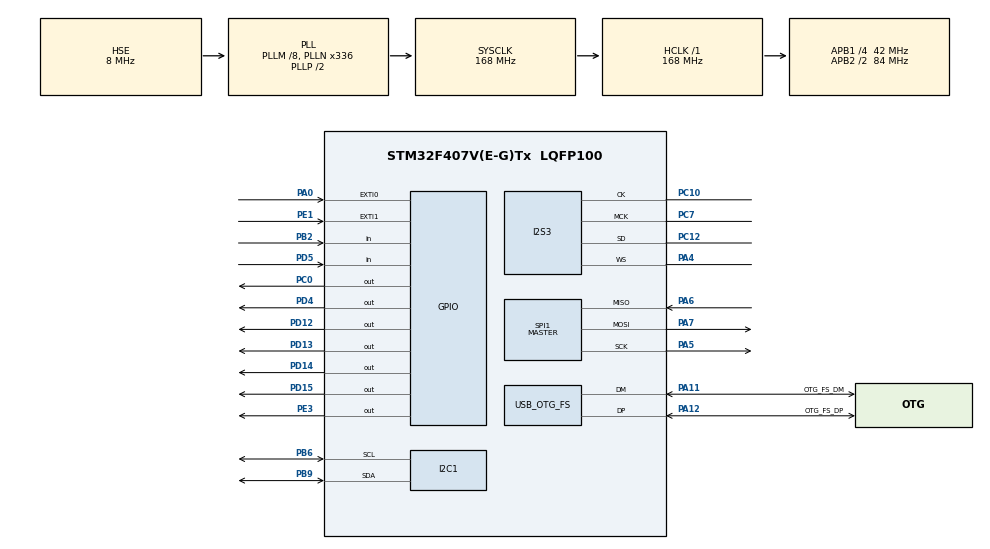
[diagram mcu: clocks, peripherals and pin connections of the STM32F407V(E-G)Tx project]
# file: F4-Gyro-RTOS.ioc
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FREERTOS.Tasks01=Task01,0,256,StartTask01,Default,NULL,Dynamic,NULL,NULL;Task02,0,128,StartTask02,Default,NULL,Dynamic,NULL,NULL
I2S3.AudioFreq-Half_Duplex_Master=I2S_AUDIOFREQ_96K
I2S3.ErrorAudioFreq=-2.34 %
I2S3.ErrorAudioFreq-Half_Duplex_Master=0.8 %
I2S3.FullDuplexMode=I2S_FULLDUPLEXMODE_DISABLE
I2S3.Instance=SPI$Index
I2S3.RealAudioFreq=93.75 KHz
I2S3.RealAudioFreq-Half_Duplex_Master=96.774 KHz
I2S3.VirtualMode=I2S_MODE_MASTER
Mcu.Family=STM32F4
Mcu.Name=STM32F407V(E-G)Tx
Mcu.Package=LQFP100
NVIC.OTG_FS_IRQn=true\:5\:0\:false\:false\:true\:true\:true
NVIC.PriorityGroup=NVIC_PRIORITYGROUP_4
NVIC.TIM6_DAC_IRQn=true\:0\:0\:false\:false\:true\:false\:false
NVIC.TimeBase=TIM6_DAC_IRQn
NVIC.TimeBaseIP=TIM6
PA0-WKUP.GPIO_ModeDefaultEXTI=GPIO_MODE_IT_RISING
PA0-WKUP.GPIO_PuPd=GPIO_NOPULL
PA0-WKUP.Signal=GPXTI0
PA10.GPIO_Mode=GPIO_MODE_AF_PP
PA10.GPIO_PuPd=GPIO_NOPULL
PA10.GPIO_Speed=GPIO_SPEED_FREQ_VERY_HIGH
PA10.Signal=USB_OTG_FS_ID
PA11.GPIO_Label=OTG_FS_DM
PA11.GPIO_Mode=GPIO_MODE_AF_PP
PA11.GPIO_PuPd=GPIO_NOPULL
PA11.GPIO_Speed=GPIO_SPEED_FREQ_LOW
PA11.Mode=Device_Only
PA11.Signal=USB_OTG_FS_DM
PA12.GPIO_Label=OTG_FS_DP
PA12.GPIO_Mode=GPIO_MODE_AF_PP
PA12.GPIO_PuPd=GPIO_NOPULL
PA12.GPIO_Speed=GPIO_SPEED_FREQ_LOW
PA12.Mode=Device_Only
PA12.Signal=USB_OTG_FS_DP
PA13.Mode=Serial_Wire
PA13.Signal=SYS_JTMS-SWDIO
PA14.Mode=Serial_Wire
PA14.Signal=SYS_JTCK-SWCLK
PA4.GPIO_Mode=GPIO_MODE_AF_PP
PA4.GPIO_PuPd=GPIO_NOPULL
PA4.GPIO_Speed=GPIO_SPEED_FREQ_LOW
PA4.Mode=Half_Duplex_Master
PA4.Signal=I2S3_WS
PA5.GPIO_Mode=GPIO_MODE_AF_PP
PA5.GPIO_PuPd=GPIO_NOPULL
PA5.GPIO_Speed=GPIO_SPEED_FREQ_VERY_HIGH
PA5.Mode=Full_Duplex_Master
PA5.Signal=SPI1_SCK
PA6.GPIO_Mode=GPIO_MODE_AF_PP
PA6.GPIO_PuPd=GPIO_NOPULL
PA6.GPIO_Speed=GPIO_SPEED_FREQ_VERY_HIGH
PA6.Mode=Full_Duplex_Master
PA6.Signal=SPI1_MISO
PA7.GPIO_Mode=GPIO_MODE_AF_PP
PA7.GPIO_PuPd=GPIO_NOPULL
PA7.GPIO_Speed=GPIO_SPEED_FREQ_VERY_HIGH
PA7.Mode=Full_Duplex_Master
PA7.Signal=SPI1_MOSI
PA9.GPIO_Mode=GPIO_MODE_INPUT
PA9.GPIO_PuPd=GPIO_NOPULL
PA9.Signal=USB_OTG_FS_VBUS
PB10.GPIO_Mode=GPIO_MODE_AF_PP
PB10.GPIO_PuPd=GPIO_NOPULL
PB10.GPIO_Speed=GPIO_SPEED_FREQ_LOW
PB10.Signal=I2S2_CK
PB2.GPIO_Mode=GPIO_MODE_INPUT
PB2.GPIO_PuPd=GPIO_NOPULL
PB2.Signal=GPIO_Input
PB3.Signal=SYS_JTDO-SWO
PB6.GPIO_Mode=GPIO_MODE_AF_OD
PB6.GPIO_PuPd=GPIO_NOPULL
PB6.GPIO_PuPdOD=GPIO_PULLUP
PB6.GPIO_Speed=GPIO_SPEED_FREQ_VERY_HIGH
PB6.Mode=I2C
PB6.Signal=I2C1_SCL
PB9.GPIO_Mode=GPIO_MODE_AF_OD
PB9.GPIO_PuPd=GPIO_NOPULL
PB9.GPIO_PuPdOD=GPIO_PULLUP
PB9.GPIO_Speed=GPIO_SPEED_FREQ_VERY_HIGH
PB9.Mode=I2C
PB9.Signal=I2C1_SDA
PC0.GPIO_ModeDefaultOutputPP=GPIO_MODE_OUTPUT_PP
PC0.GPIO_PuPd=GPIO_NOPULL
PC0.GPIO_Speed=GPIO_SPEED_FREQ_LOW
PC0.PinState=GPIO_PIN_RESET
PC0.Signal=GPIO_Output
PC10.GPIO_Mode=GPIO_MODE_AF_PP
PC10.GPIO_PuPd=GPIO_NOPULL
PC10.GPIO_Speed=GPIO_SPEED_FREQ_LOW
PC10.Mode=Half_Duplex_Master
PC10.Signal=I2S3_CK
PC12.GPIO_Mode=GPIO_MODE_AF_PP
PC12.GPIO_PuPd=GPIO_NOPULL
PC12.GPIO_Speed=GPIO_SPEED_FREQ_LOW
PC12.Mode=Half_Duplex_Master
PC12.Signal=I2S3_SD
PC14-OSC32_IN.Mode=LSE-External-Oscillator
PC14-OSC32_IN.Signal=RCC_OSC32_IN
PC15-OSC32_OUT.Mode=LSE-External-Oscillator
PC15-OSC32_OUT.Signal=RCC_OSC32_OUT
PC3.GPIO_Mode=GPIO_MODE_AF_PP
PC3.GPIO_PuPd=GPIO_NOPULL
PC3.GPIO_Speed=GPIO_SPEED_FREQ_LOW
PC3.Signal=I2S2_SD
PC7.GPIO_Mode=GPIO_MODE_AF_PP
PC7.GPIO_PuPd=GPIO_NOPULL
PC7.GPIO_Speed=GPIO_SPEED_FREQ_LOW
PC7.Mode=Master_Clock_Activated
PC7.Signal=I2S3_MCK
PD12.GPIO_ModeDefaultOutputPP=GPIO_MODE_OUTPUT_PP
PD12.GPIO_PuPd=GPIO_NOPULL
PD12.GPIO_Speed=GPIO_SPEED_FREQ_LOW
PD12.PinState=GPIO_PIN_RESET
PD12.Signal=GPIO_Output
PD13.GPIO_ModeDefaultOutputPP=GPIO_MODE_OUTPUT_PP
PD13.GPIO_PuPd=GPIO_NOPULL
PD13.GPIO_Speed=GPIO_SPEED_FREQ_LOW
PD13.PinState=GPIO_PIN_RESET
PD13.Signal=GPIO_Output
PD14.GPIO_ModeDefaultOutputPP=GPIO_MODE_OUTPUT_PP
PD14.GPIO_PuPd=GPIO_NOPULL
PD14.GPIO_Speed=GPIO_SPEED_FREQ_LOW
PD14.PinState=GPIO_PIN_RESET
PD14.Signal=GPIO_Output
PD15.GPIO_ModeDefaultOutputPP=GPIO_MODE_OUTPUT_PP
PD15.GPIO_PuPd=GPIO_NOPULL
PD15.GPIO_Speed=GPIO_SPEED_FREQ_LOW
PD15.PinState=GPIO_PIN_RESET
PD15.Signal=GPIO_Output
PD4.GPIO_ModeDefaultOutputPP=GPIO_MODE_OUTPUT_PP
PD4.GPIO_PuPd=GPIO_NOPULL
PD4.GPIO_Speed=GPIO_SPEED_FREQ_LOW
PD4.PinState=GPIO_PIN_RESET
PD4.Signal=GPIO_Output
PD5.GPIO_Mode=GPIO_MODE_INPUT
PD5.GPIO_PuPd=GPIO_NOPULL
PD5.Signal=GPIO_Input
PE1.GPIO_ModeDefaultEXTI=GPIO_MODE_IT_RISING
PE1.GPIO_PuPd=GPIO_NOPULL
PE1.Signal=GPXTI1
PE3.GPIO_ModeDefaultOutputPP=GPIO_MODE_OUTPUT_PP
PE3.GPIO_PuPd=GPIO_NOPULL
PE3.GPIO_Speed=GPIO_SPEED_FREQ_LOW
PE3.PinState=GPIO_PIN_RESET
PE3.Signal=GPIO_Output
PH0-OSC_IN.Mode=HSE-External-Oscillator
PH0-OSC_IN.Signal=RCC_OSC_IN
PH1-OSC_OUT.Mode=HSE-External-Oscillator
PH1-OSC_OUT.Signal=RCC_OSC_OUT
ProjectManager.HeapSize=0x200
ProjectManager.StackSize=0x400
ProjectManager.TargetToolchain=TrueSTUDIO
RCC.48MHZClocksFreq_Value=48000000
RCC.AHBFreq_Value=168000000
RCC.APB1CLKDivider=RCC_HCLK_DIV4
RCC.APB1Freq_Value=42000000
RCC.APB1TimFreq_Value=84000000
RCC.APB2CLKDivider=RCC_HCLK_DIV2
RCC.APB2Freq_Value=84000000
RCC.APB2TimFreq_Value=168000000
RCC.CortexFreq_Value=168000000
RCC.HCLKFreq_Value=168000000
RCC.HSE_VALUE=8000000
RCC.HSI_VALUE=16000000
RCC.PLLM=8
RCC.PLLN=336
RCC.PLLQ=7
RCC.SYSCLKFreq_VALUE=168000000
RCC.SYSCLKSource=RCC_SYSCLKSOURCE_PLLCLK
RCC.VCOOutputFreq_Value=336000000
SPI1.BaudRatePrescaler-Full_Duplex_Master=SPI_BAUDRATEPRESCALER_2
SPI1.CalculateBaudRate-Full_Duplex_Master=42.0 MBits/s
SPI1.Direction=SPI_DIRECTION_2LINES
SPI1.Mode=SPI_MODE_MASTER
SPI1.Mode-Full_Duplex_Master=SPI_MODE_MASTER
SPI1.VirtualType=VM_MASTER
USB_DEVICE.CLASS_NAME_FS=CDC
USB_DEVICE.VirtualMode-CDC_FS=Cdc
USB_DEVICE.VirtualModeFS=Cdc_FS
USB_OTG_FS.VirtualMode=Device_Only
VP_FREERTOS_VS_ENABLE.Mode=Enabled
VP_SYS_VS_tim6.Mode=TIM6
VP_USB_DEVICE_VS_USB_DEVICE_CDC_FS.Mode=CDC_FS
board=STM32F4DISCOVERY

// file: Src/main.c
/**
  ******************************************************************************
  * @file           : main.c
  * @brief          : Main program body
  ******************************************************************************
  * This notice applies to any and all portions of this file
  * that are not between comment pairs USER CODE BEGIN and
  * USER CODE END. Other portions of this file, whether
  * inserted by the user or by software development tools
  * are owned by their respective copyright owners.
  *
  * Copyright (c) 2018 STMicroelectronics International N.V.
  * All rights reserved.
  *
  * Redistribution and use in source and binary forms, with or without
  * modification, are permitted, provided that the following conditions are met:
  *
  * 1. Redistribution of source code must retain the above copyright notice,
  *    this list of conditions and the following disclaimer.
  * 2. Redistributions in binary form must reproduce the above copyright notice,
  *    this list of conditions and the following disclaimer in the documentation
  *    and/or other materials provided with the distribution.
  * 3. Neither the name of STMicroelectronics nor the names of other
  *    contributors to this software may be used to endorse or promote products
  *    derived from this software without specific written permission.
  * 4. This software, including modifications and/or derivative works of this
  *    software, must execute solely and exclusively on microcontroller or
  *    microprocessor devices manufactured by or for STMicroelectronics.
  * 5. Redistribution and use of this software other than as permitted under
  *    this license is void and will automatically terminate your rights under
  *    this license.
  *
  * THIS SOFTWARE IS PROVIDED BY STMICROELECTRONICS AND CONTRIBUTORS "AS IS"
  * AND ANY EXPRESS, IMPLIED OR STATUTORY WARRANTIES, INCLUDING, BUT NOT
  * LIMITED TO, THE IMPLIED WARRANTIES OF MERCHANTABILITY, FITNESS FOR A
  * PARTICULAR PURPOSE AND NON-INFRINGEMENT OF THIRD PARTY INTELLECTUAL PROPERTY
  * RIGHTS ARE DISCLAIMED TO THE FULLEST EXTENT PERMITTED BY LAW. IN NO EVENT
  * SHALL STMICROELECTRONICS OR CONTRIBUTORS BE LIABLE FOR ANY DIRECT, INDIRECT,
  * INCIDENTAL, SPECIAL, EXEMPLARY, OR CONSEQUENTIAL DAMAGES (INCLUDING, BUT NOT
  * LIMITED TO, PROCUREMENT OF SUBSTITUTE GOODS OR SERVICES; LOSS OF USE, DATA,
  * OR PROFITS; OR BUSINESS INTERRUPTION) HOWEVER CAUSED AND ON ANY THEORY OF
  * LIABILITY, WHETHER IN CONTRACT, STRICT LIABILITY, OR TORT (INCLUDING
  * NEGLIGENCE OR OTHERWISE) ARISING IN ANY WAY OUT OF THE USE OF THIS SOFTWARE,
  * EVEN IF ADVISED OF THE POSSIBILITY OF SUCH DAMAGE.
  *
  ******************************************************************************
  */
#include "main.h"
#include "stm32f4xx_hal.h"
#include "cmsis_os.h"
#include "usb_device.h"

/* USER CODE BEGIN Includes */
#include "stm32f4_discovery_accelerometer.h"
#include "stm32f4_discovery.h"
#include "usbd_cdc.h"
/* USER CODE END Includes */

I2C_HandleTypeDef hi2c1;

I2S_HandleTypeDef hi2s3;

SPI_HandleTypeDef hspi1;

osThreadId Task01Handle;
osThreadId Task02Handle;

/* USER CODE BEGIN PV */
/* Private variables ---------------------------------------------------------*/
osMailQId(myMailQID); //Define mail queue
typedef struct
{
  int16_t x_ang_rate;
  int16_t y_ang_rate;
  int16_t z_ang_rate;

} GYRO_DATA_T;
int16_t ThresholdHigh = 200;
int16_t ThresholdLow = -200;
/* USER CODE END PV */

void SystemClock_Config(void);
static void MX_GPIO_Init(void);
static void MX_I2C1_Init(void);
static void MX_I2S3_Init(void);
static void MX_SPI1_Init(void);
void StartTask01(void const * argument);
void StartTask02(void const * argument);

/* USER CODE BEGIN PFP */
/* Private function prototypes -----------------------------------------------*/

/* USER CODE END PFP */

/* USER CODE BEGIN 0 */
#define ABS(x) (x < 0) ? (-x) : x
/* USER CODE END 0 */

int main(void)
{

  /* MCU Configuration----------------------------------------------------------*/

  /* Reset of all peripherals, Initializes the Flash interface and the Systick. */
  HAL_Init();

  /* Configure the system clock */
  SystemClock_Config();

  /* Initialize all configured peripherals */
  MX_GPIO_Init();
  MX_I2C1_Init();
  MX_I2S3_Init();
  MX_SPI1_Init();

  /* Create the thread(s) */
  /* definition and creation of Task01 */
  osThreadDef(Task01, StartTask01, osPriorityNormal, 0, 256);
  Task01Handle = osThreadCreate(osThread(Task01), NULL);

  /* definition and creation of Task02 */
  osThreadDef(Task02, StartTask02, osPriorityNormal, 0, 128);
  Task02Handle = osThreadCreate(osThread(Task02), NULL);

  /* USER CODE BEGIN RTOS_QUEUES */
  /* add queues, ... */
  osMailQDef(myMailQ, 5, GYRO_DATA_T);
  myMailQID = osMailCreate(osMailQ(myMailQ), NULL);
  /* USER CODE END RTOS_QUEUES */

  /* Start scheduler */
  osKernelStart();

  /* We should never get here as control is now taken by the scheduler */

  /* Infinite loop */
  while (1)
  {

  }

}

void SystemClock_Config(void)
{

  RCC_OscInitTypeDef RCC_OscInitStruct;
  RCC_ClkInitTypeDef RCC_ClkInitStruct;
  RCC_PeriphCLKInitTypeDef PeriphClkInitStruct;

    /**Configure the main internal regulator output voltage
    */
  __HAL_RCC_PWR_CLK_ENABLE();

  __HAL_PWR_VOLTAGESCALING_CONFIG(PWR_REGULATOR_VOLTAGE_SCALE1);

    /**Initializes the CPU, AHB and APB busses clocks
    */
  RCC_OscInitStruct.OscillatorType = RCC_OSCILLATORTYPE_HSE;
  RCC_OscInitStruct.HSEState = RCC_HSE_ON;
  RCC_OscInitStruct.PLL.PLLState = RCC_PLL_ON;
  RCC_OscInitStruct.PLL.PLLSource = RCC_PLLSOURCE_HSE;
  RCC_OscInitStruct.PLL.PLLM = 8;
  RCC_OscInitStruct.PLL.PLLN = 336;
  RCC_OscInitStruct.PLL.PLLP = RCC_PLLP_DIV2;
  RCC_OscInitStruct.PLL.PLLQ = 7;
  if (HAL_RCC_OscConfig(&RCC_OscInitStruct) != HAL_OK)
  {
    _Error_Handler(__FILE__, __LINE__);
  }

    /**Initializes the CPU, AHB and APB busses clocks
    */
  RCC_ClkInitStruct.ClockType = RCC_CLOCKTYPE_HCLK|RCC_CLOCKTYPE_SYSCLK
                              |RCC_CLOCKTYPE_PCLK1|RCC_CLOCKTYPE_PCLK2;
  RCC_ClkInitStruct.SYSCLKSource = RCC_SYSCLKSOURCE_PLLCLK;
  RCC_ClkInitStruct.AHBCLKDivider = RCC_SYSCLK_DIV1;
  RCC_ClkInitStruct.APB1CLKDivider = RCC_HCLK_DIV4;
  RCC_ClkInitStruct.APB2CLKDivider = RCC_HCLK_DIV2;

  if (HAL_RCC_ClockConfig(&RCC_ClkInitStruct, FLASH_LATENCY_5) != HAL_OK)
  {
    _Error_Handler(__FILE__, __LINE__);
  }

  PeriphClkInitStruct.PeriphClockSelection = RCC_PERIPHCLK_I2S;
  PeriphClkInitStruct.PLLI2S.PLLI2SN = 192;
  PeriphClkInitStruct.PLLI2S.PLLI2SR = 2;
  if (HAL_RCCEx_PeriphCLKConfig(&PeriphClkInitStruct) != HAL_OK)
  {
    _Error_Handler(__FILE__, __LINE__);
  }

    /**Configure the Systick interrupt time
    */
  HAL_SYSTICK_Config(HAL_RCC_GetHCLKFreq()/1000);

    /**Configure the Systick
    */
  HAL_SYSTICK_CLKSourceConfig(SYSTICK_CLKSOURCE_HCLK);

  /* SysTick_IRQn interrupt configuration */
  HAL_NVIC_SetPriority(SysTick_IRQn, 15, 0);
}

/* I2C1 init function */
static void MX_I2C1_Init(void)
{

  hi2c1.Instance = I2C1;
  hi2c1.Init.ClockSpeed = 100000;
  hi2c1.Init.DutyCycle = I2C_DUTYCYCLE_2;
  hi2c1.Init.OwnAddress1 = 0;
  hi2c1.Init.AddressingMode = I2C_ADDRESSINGMODE_7BIT;
  hi2c1.Init.DualAddressMode = I2C_DUALADDRESS_DISABLE;
  hi2c1.Init.OwnAddress2 = 0;
  hi2c1.Init.GeneralCallMode = I2C_GENERALCALL_DISABLE;
  hi2c1.Init.NoStretchMode = I2C_NOSTRETCH_DISABLE;
  if (HAL_I2C_Init(&hi2c1) != HAL_OK)
  {
    _Error_Handler(__FILE__, __LINE__);
  }

}

/* I2S3 init function */
static void MX_I2S3_Init(void)
{

  hi2s3.Instance = SPI3;
  hi2s3.Init.Mode = I2S_MODE_MASTER_TX;
  hi2s3.Init.Standard = I2S_STANDARD_PHILIPS;
  hi2s3.Init.DataFormat = I2S_DATAFORMAT_16B;
  hi2s3.Init.MCLKOutput = I2S_MCLKOUTPUT_ENABLE;
  hi2s3.Init.AudioFreq = I2S_AUDIOFREQ_96K;
  hi2s3.Init.CPOL = I2S_CPOL_LOW;
  hi2s3.Init.ClockSource = I2S_CLOCK_PLL;
  hi2s3.Init.FullDuplexMode = I2S_FULLDUPLEXMODE_DISABLE;
  if (HAL_I2S_Init(&hi2s3) != HAL_OK)
  {
    _Error_Handler(__FILE__, __LINE__);
  }

}

/* SPI1 init function */
static void MX_SPI1_Init(void)
{

  /* SPI1 parameter configuration*/
  hspi1.Instance = SPI1;
  hspi1.Init.Mode = SPI_MODE_MASTER;
  hspi1.Init.Direction = SPI_DIRECTION_2LINES;
  hspi1.Init.DataSize = SPI_DATASIZE_8BIT;
  hspi1.Init.CLKPolarity = SPI_POLARITY_LOW;
  hspi1.Init.CLKPhase = SPI_PHASE_1EDGE;
  hspi1.Init.NSS = SPI_NSS_SOFT;
  hspi1.Init.BaudRatePrescaler = SPI_BAUDRATEPRESCALER_2;
  hspi1.Init.FirstBit = SPI_FIRSTBIT_MSB;
  hspi1.Init.TIMode = SPI_TIMODE_DISABLE;
  hspi1.Init.CRCCalculation = SPI_CRCCALCULATION_DISABLE;
  hspi1.Init.CRCPolynomial = 10;
  if (HAL_SPI_Init(&hspi1) != HAL_OK)
  {
    _Error_Handler(__FILE__, __LINE__);
  }

}

/** Configure pins as
        * Analog
        * Input
        * Output
        * EVENT_OUT
        * EXTI
     PC3   ------> I2S2_SD
     PB10   ------> I2S2_CK
*/
static void MX_GPIO_Init(void)
{

  GPIO_InitTypeDef GPIO_InitStruct;

  /* GPIO Ports Clock Enable */
  __HAL_RCC_GPIOE_CLK_ENABLE();
  __HAL_RCC_GPIOC_CLK_ENABLE();
  __HAL_RCC_GPIOH_CLK_ENABLE();
  __HAL_RCC_GPIOA_CLK_ENABLE();
  __HAL_RCC_GPIOB_CLK_ENABLE();
  __HAL_RCC_GPIOD_CLK_ENABLE();

  /*Configure GPIO pin Output Level */
  HAL_GPIO_WritePin(GPIOE, GPIO_PIN_3, GPIO_PIN_RESET);

  /*Configure GPIO pin Output Level */
  HAL_GPIO_WritePin(GPIOC, GPIO_PIN_0, GPIO_PIN_RESET);

  /*Configure GPIO pin Output Level */
  HAL_GPIO_WritePin(GPIOD, GPIO_PIN_12|GPIO_PIN_13|GPIO_PIN_14|GPIO_PIN_15
                          |GPIO_PIN_4, GPIO_PIN_RESET);

  /*Configure GPIO pin : PE3 */
  GPIO_InitStruct.Pin = GPIO_PIN_3;
  GPIO_InitStruct.Mode = GPIO_MODE_OUTPUT_PP;
  GPIO_InitStruct.Pull = GPIO_NOPULL;
  GPIO_InitStruct.Speed = GPIO_SPEED_FREQ_LOW;
  HAL_GPIO_Init(GPIOE, &GPIO_InitStruct);

  /*Configure GPIO pin : PC0 */
  GPIO_InitStruct.Pin = GPIO_PIN_0;
  GPIO_InitStruct.Mode = GPIO_MODE_OUTPUT_PP;
  GPIO_InitStruct.Pull = GPIO_NOPULL;
  GPIO_InitStruct.Speed = GPIO_SPEED_FREQ_LOW;
  HAL_GPIO_Init(GPIOC, &GPIO_InitStruct);

  /*Configure GPIO pin : PC3 */
  GPIO_InitStruct.Pin = GPIO_PIN_3;
  GPIO_InitStruct.Mode = GPIO_MODE_AF_PP;
  GPIO_InitStruct.Pull = GPIO_NOPULL;
  GPIO_InitStruct.Speed = GPIO_SPEED_FREQ_LOW;
  GPIO_InitStruct.Alternate = GPIO_AF5_SPI2;
  HAL_GPIO_Init(GPIOC, &GPIO_InitStruct);

  /*Configure GPIO pin : PA0 */
  GPIO_InitStruct.Pin = GPIO_PIN_0;
  GPIO_InitStruct.Mode = GPIO_MODE_IT_RISING;
  GPIO_InitStruct.Pull = GPIO_NOPULL;
  HAL_GPIO_Init(GPIOA, &GPIO_InitStruct);

  /*Configure GPIO pin : PB2 */
  GPIO_InitStruct.Pin = GPIO_PIN_2;
  GPIO_InitStruct.Mode = GPIO_MODE_INPUT;
  GPIO_InitStruct.Pull = GPIO_NOPULL;
  HAL_GPIO_Init(GPIOB, &GPIO_InitStruct);

  /*Configure GPIO pin : PB10 */
  GPIO_InitStruct.Pin = GPIO_PIN_10;
  GPIO_InitStruct.Mode = GPIO_MODE_AF_PP;
  GPIO_InitStruct.Pull = GPIO_NOPULL;
  GPIO_InitStruct.Speed = GPIO_SPEED_FREQ_LOW;
  GPIO_InitStruct.Alternate = GPIO_AF5_SPI2;
  HAL_GPIO_Init(GPIOB, &GPIO_InitStruct);

  /*Configure GPIO pins : PD12 PD13 PD14 PD15
                           PD4 */
  GPIO_InitStruct.Pin = GPIO_PIN_12|GPIO_PIN_13|GPIO_PIN_14|GPIO_PIN_15
                          |GPIO_PIN_4;
  GPIO_InitStruct.Mode = GPIO_MODE_OUTPUT_PP;
  GPIO_InitStruct.Pull = GPIO_NOPULL;
  GPIO_InitStruct.Speed = GPIO_SPEED_FREQ_LOW;
  HAL_GPIO_Init(GPIOD, &GPIO_InitStruct);

  /*Configure GPIO pin : PD5 */
  GPIO_InitStruct.Pin = GPIO_PIN_5;
  GPIO_InitStruct.Mode = GPIO_MODE_INPUT;
  GPIO_InitStruct.Pull = GPIO_NOPULL;
  HAL_GPIO_Init(GPIOD, &GPIO_InitStruct);

  /*Configure GPIO pin : PE1 */
  GPIO_InitStruct.Pin = GPIO_PIN_1;
  GPIO_InitStruct.Mode = GPIO_MODE_IT_RISING;
  GPIO_InitStruct.Pull = GPIO_NOPULL;
  HAL_GPIO_Init(GPIOE, &GPIO_InitStruct);

}

/* USER CODE BEGIN 4 */
void GYRO_Task(void)
{
  /* Initialize the L3GD20 Gyroscope */
  if (BSP_ACCELERO_Init() != HAL_OK)
  {
    Error_Handler();
  }
  /* Infinite loop */
  GYRO_DATA_T gyro_data;

  osSignalWait(0x1, osWaitForever); //Wait for signal. Check cmsis_os.c for API name.
  for (;;)
  {
    BSP_ACCELERO_GetXYZ((int16_t *)&gyro_data);
    /*Send gyroscope data to USB*/
    GYRO_DATA_T *gyro_tx;
    do
    {
      gyro_tx = (GYRO_DATA_T *)osMailAlloc(myMailQID, osWaitForever); //Allocate memory slot
    } while (NULL == gyro_tx);                                        //Need to check for NULL because timeout value is not used in FreeRTOS
    gyro_tx->x_ang_rate = gyro_data.x_ang_rate;
    gyro_tx->y_ang_rate = gyro_data.y_ang_rate;
    gyro_tx->z_ang_rate = gyro_data.z_ang_rate;
    osMailPut(myMailQID, gyro_tx); //Put data into mail queue. Check cmsis_os.c for API name

    /* Manage data */

    /* Assume all data within the threshold, turn off all LED */
    BSP_LED_Off(LED3);
    BSP_LED_Off(LED4);
    BSP_LED_Off(LED5);
    BSP_LED_Off(LED6);
    if ((ABS(gyro_data.x_ang_rate)) > (ABS(gyro_data.y_ang_rate)))
    {
      if (gyro_data.x_ang_rate > ThresholdHigh)
      {
        /* LED5 On */
        BSP_LED_On(LED5);
        osDelay(250);
      }
      else if (gyro_data.x_ang_rate < ThresholdLow)
      {
        /* LED4 On */
        BSP_LED_On(LED4);
        osDelay(250);
      }
      else
      {
        osDelay(250);
      }
    }
    else
    {
      if (gyro_data.y_ang_rate < ThresholdLow)
      {
        /* LED6 On */
        BSP_LED_On(LED6);
        osDelay(250);
      }
      else if (gyro_data.y_ang_rate > ThresholdHigh)
      {
        /* LED3 On */
        BSP_LED_On(LED3);
        osDelay(250);
      }
      else
      {
        osDelay(250);
      }
    }

    BSP_LED_Off(LED3);
    BSP_LED_Off(LED4);
    BSP_LED_Off(LED5);
    BSP_LED_Off(LED6);
  }
}
void USB_Task(void)
{

  uint8_t msg_buf[128] = "HelloWorld\n\r";
  osSignalWait(0x1, osWaitForever);                        //Wait for USB host to configure port
  osSignalSet(Task02Handle, 0x1);                          //Set signal in Task 02
  CDC_Transmit_FS(msg_buf, strlen((const char *)msg_buf)); //Send data to USB host
  /* Infinite loop */
  for (;;)
  {
    osEvent event = osMailGet(myMailQID, osWaitForever); //Get mail
    GYRO_DATA_T *gyro_rx = event.value.p;
    snprintf((char *)msg_buf, 128, "GYR_X: %d, GYR_Y: %d, GYR_Z: %d\n\r", gyro_rx->x_ang_rate, gyro_rx->y_ang_rate, gyro_rx->z_ang_rate);
    osMailFree(myMailQID, gyro_rx); //Free mail queue memory
    CDC_Transmit_FS(msg_buf, strlen((const char *)msg_buf));
  }
}
/* USER CODE END 4 */

/* StartTask01 function */
void StartTask01(void const * argument)
{
  /* init code for USB_DEVICE */
  MX_USB_DEVICE_Init();

  /* USER CODE BEGIN 5 */
  /* Infinite loop */
  USB_Task();
  for (;;)
  {
    osDelay(1);
    // HAL_GPIO_TogglePin(GPIOD, GPIO_PIN_13);
    // osDelay(250);
  }
  /* USER CODE END 5 */
}

/* StartTask02 function */
void StartTask02(void const * argument)
{
  /* USER CODE BEGIN StartTask02 */
  /* Infinite loop */
  GYRO_Task();
  for (;;)
  {
    osDelay(1);
    // HAL_GPIO_TogglePin(GPIOD, GPIO_PIN_14);
    // osDelay(250);

  }
  /* USER CODE END StartTask02 */
}

void HAL_TIM_PeriodElapsedCallback(TIM_HandleTypeDef *htim)
{
  if (htim->Instance == TIM6) {
    HAL_IncTick();
  }
}

void _Error_Handler(char *file, int line)
{
  while (1)
  {
  }
}

/************************ (C) COPYRIGHT STMicroelectronics *****END OF FILE****/
